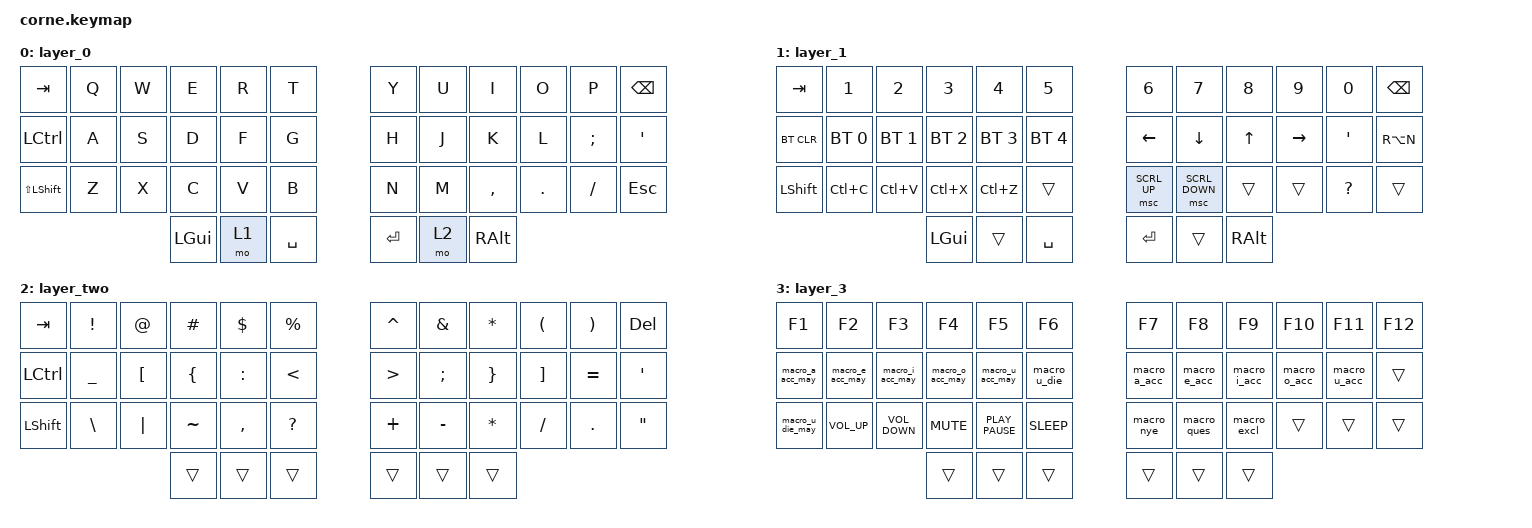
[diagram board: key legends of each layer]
/*
 * Copyright (c) 2020 The ZMK Contributors
 *
 * SPDX-License-Identifier: MIT
 */

#include <behaviors.dtsi>
#include <dt-bindings/zmk/bt.h>
#include <dt-bindings/zmk/keys.h>
#include <dt-bindings/zmk/pointing.h>

/ {
  macros {
        // --- MINÚSCULAS ---
        macro_nye: macro_nye {
            compatible = "zmk,behavior-macro";
            #binding-cells = <0>;
            wait-ms = <40>;
            tap-ms = <40>;
            bindings = <&macro_press &kp LALT>, <&macro_tap &kp KP_N1 &kp KP_N6 &kp KP_N4>, <&macro_release &kp LALT>;
        };
        macro_a_acc: macro_a_acc {
            compatible = "zmk,behavior-macro";
            #binding-cells = <0>;
            wait-ms = <40>;
            tap-ms = <40>;
            bindings = <&macro_press &kp LALT>, <&macro_tap &kp KP_N1 &kp KP_N6 &kp KP_N0>, <&macro_release &kp LALT>;
        };
        macro_e_acc: macro_e_acc {
            compatible = "zmk,behavior-macro";
            #binding-cells = <0>;
            wait-ms = <40>;
            tap-ms = <40>;
            bindings = <&macro_press &kp LALT>, <&macro_tap &kp KP_N1 &kp KP_N3 &kp KP_N0>, <&macro_release &kp LALT>;
        };
        macro_i_acc: macro_i_acc {
            compatible = "zmk,behavior-macro";
            #binding-cells = <0>;
            wait-ms = <40>;
            tap-ms = <40>;
            bindings = <&macro_press &kp LALT>, <&macro_tap &kp KP_N1 &kp KP_N6 &kp KP_N1>, <&macro_release &kp LALT>;
        };
        macro_o_acc: macro_o_acc {
            compatible = "zmk,behavior-macro";
            #binding-cells = <0>;
            wait-ms = <40>;
            tap-ms = <40>;
            bindings = <&macro_press &kp LALT>, <&macro_tap &kp KP_N1 &kp KP_N6 &kp KP_N2>, <&macro_release &kp LALT>;
        };
        macro_u_acc: macro_u_acc {
            compatible = "zmk,behavior-macro";
            #binding-cells = <0>;
            wait-ms = <40>;
            tap-ms = <40>;
            bindings = <&macro_press &kp LALT>, <&macro_tap &kp KP_N1 &kp KP_N6 &kp KP_N3>, <&macro_release &kp LALT>;
        };
        macro_u_die: macro_u_die {
            compatible = "zmk,behavior-macro";
            #binding-cells = <0>;
            wait-ms = <40>;
            tap-ms = <40>;
            bindings = <&macro_press &kp LALT>, <&macro_tap &kp KP_N1 &kp KP_N2 &kp KP_N9>, <&macro_release &kp LALT>;
        };

        // --- MAYÚSCULAS ---
        macro_nye_may: macro_nye_may {
            compatible = "zmk,behavior-macro";
            #binding-cells = <0>;
            wait-ms = <40>;
            tap-ms = <40>;
            bindings = <&macro_press &kp LALT>, <&macro_tap &kp KP_N1 &kp KP_N6 &kp KP_N5>, <&macro_release &kp LALT>;
        };
        macro_a_acc_may: macro_a_acc_may {
            compatible = "zmk,behavior-macro";
            #binding-cells = <0>;
            wait-ms = <40>;
            tap-ms = <40>;
            bindings = <&macro_press &kp LALT>, <&macro_tap &kp KP_N0 &kp KP_N1 &kp KP_N9 &kp KP_N3>, <&macro_release &kp LALT>;
        };
        macro_e_acc_may: macro_e_acc_may {
            compatible = "zmk,behavior-macro";
            #binding-cells = <0>;
            wait-ms = <40>;
            tap-ms = <40>;
            bindings = <&macro_press &kp LALT>, <&macro_tap &kp KP_N0 &kp KP_N2 &kp KP_N0 &kp KP_N1>, <&macro_release &kp LALT>;
        };
        macro_i_acc_may: macro_i_acc_may {
            compatible = "zmk,behavior-macro";
            #binding-cells = <0>;
            wait-ms = <40>;
            tap-ms = <40>;
            bindings = <&macro_press &kp LALT>, <&macro_tap &kp KP_N0 &kp KP_N2 &kp KP_N0 &kp KP_N5>, <&macro_release &kp LALT>;
        };
        macro_o_acc_may: macro_o_acc_may {
            compatible = "zmk,behavior-macro";
            #binding-cells = <0>;
            wait-ms = <40>;
            tap-ms = <40>;
            bindings = <&macro_press &kp LALT>, <&macro_tap &kp KP_N0 &kp KP_N2 &kp KP_N1 &kp KP_N1>, <&macro_release &kp LALT>;
        };
        macro_u_acc_may: macro_u_acc_may {
            compatible = "zmk,behavior-macro";
            #binding-cells = <0>;
            wait-ms = <40>;
            tap-ms = <40>;
            bindings = <&macro_press &kp LALT>, <&macro_tap &kp KP_N0 &kp KP_N2 &kp KP_N1 &kp KP_N8>, <&macro_release &kp LALT>;
        };
        macro_u_die_may: macro_u_die_may {
            compatible = "zmk,behavior-macro";
            #binding-cells = <0>;
            wait-ms = <40>;
            tap-ms = <40>;
            bindings = <&macro_press &kp LALT>, <&macro_tap &kp KP_N1 &kp KP_N5 &kp KP_N4>, <&macro_release &kp LALT>;
        };

        // --- SIGNOS ---
        macro_ques: macro_ques {
            compatible = "zmk,behavior-macro";
            #binding-cells = <0>;
            wait-ms = <40>;
            tap-ms = <40>;
            bindings = <&macro_press &kp LALT>, <&macro_tap &kp KP_N1 &kp KP_N6 &kp KP_N8>, <&macro_release &kp LALT>;
        };
        macro_excl: macro_excl {
            compatible = "zmk,behavior-macro";
            #binding-cells = <0>;
            wait-ms = <40>;
            tap-ms = <40>;
            bindings = <&macro_press &kp LALT>, <&macro_tap &kp KP_N1 &kp KP_N7 &kp KP_N3>, <&macro_release &kp LALT>;
        };
    };
    keymap {
        compatible = "zmk,keymap";

        layer_0 {
            // -----------------------------------------------------------------------------------------
            // |  TAB |  Q  |  W  |  E  |  R  |  T  |   |  Y  |  U   |  I  |  O  |  P  | BSPC |
            // | CTRL |  A  |  S  |  D  |  F  |  G  |   |  H  |  J   |  K  |  L  |  ;  |  '   |
            // | SHFT |  Z  |  X  |  C  |  V  |  B  |   |  N  |  M   |  ,  |  .  |  /  | ESC  |
            //                    | GUI | LWR | SPC |   | ENT | RSE  | ALT |

            bindings = <
&kp TAB        &kp Q  &kp W  &kp E     &kp R  &kp T        &kp Y    &kp U  &kp I      &kp O    &kp P     &kp BSPC
&kp LCTRL      &kp A  &kp S  &kp D     &kp F  &kp G        &kp H    &kp J  &kp K      &kp L    &kp SEMI  &kp SQT
&kp LS(LSHFT)  &kp Z  &kp X  &kp C     &kp V  &kp B        &kp N    &kp M  &kp COMMA  &kp DOT  &kp FSLH  &kp ESC
                             &kp LGUI  &mo 1  &kp SPACE    &kp RET  &mo 2  &kp RALT
            >;
        };

        layer_1 {
            // -----------------------------------------------------------------------------------------
            // |  TAB |  1  |  2  |  3  |  4  |  5  |   |  6  |  7  |  8  |  9  |  0  | BSPC |
            // | BTCLR| BT1 | BT2 | BT3 | BT4 | BT5 |   | LFT | DWN |  UP | RGT |     |      |
            // | SHFT |     |     |     |     |     |   |     |     |     |     |     |      |
            //                    | GUI |     | SPC |   | ENT |     | ALT |

            bindings = <
&kp TAB     &kp N1        &kp N2        &kp N3        &kp N4        &kp N5          &kp N6        &kp N7          &kp N8    &kp N9     &kp N0        &kp BSPC
&bt BT_CLR  &bt BT_SEL 0  &bt BT_SEL 1  &bt BT_SEL 2  &bt BT_SEL 3  &bt BT_SEL 4    &kp LEFT      &kp DOWN        &kp UP    &kp RIGHT  &kp SQT       &kp RA(N)
&kp LSHFT   &kp LC(C)     &kp LC(V)     &kp LC(X)     &kp LC(Z)     &trans          &msc SCRL_UP  &msc SCRL_DOWN  &trans    &trans     &kp QUESTION  &trans
                                        &kp LGUI      &trans        &kp SPACE       &kp RET       &trans          &kp RALT
            >;
        };

        layer_two {
            bindings = <
&kp TAB         &kp EXCLAMATION  &kp AT_SIGN       &kp POUND       &kp DOLLAR  &kp PERCENT     &kp CARET  &kp AMPS       &kp ASTERISK     &kp LEFT_PARENTHESIS  &kp RIGHT_PARENTHESIS  &kp DELETE
&kp LCTRL       &kp UNDERSCORE   &kp LEFT_BRACKET  &kp LEFT_BRACE  &kp COLON   &kp LT          &kp GT     &kp SEMICOLON  &kp RIGHT_BRACE  &kp RIGHT_BRACKET     &kp EQUAL              &kp SQT
&kp LEFT_SHIFT  &kp BACKSLASH    &kp PIPE          &kp TILDE       &kp COMMA   &kp QUESTION    &kp PLUS   &kp MINUS      &kp ASTERISK     &kp SLASH             &kp PERIOD             &kp DOUBLE_QUOTES
                                                   &trans          &trans      &trans          &trans     &trans         &trans
            >;
        };

        layer_3 {
            bindings = <
&kp F1            &kp F2            &kp F3             &kp F4            &kp F5            &kp F6          &kp F7        &kp F8        &kp F9        &kp F10       &kp F11       &kp F12
&macro_a_acc_may  &macro_e_acc_may  &macro_i_acc_may   &macro_o_acc_may  &macro_u_acc_may  &macro_u_die    &macro_a_acc  &macro_e_acc  &macro_i_acc  &macro_o_acc  &macro_u_acc  &trans
&macro_u_die_may  &kp C_VOLUME_UP   &kp C_VOLUME_DOWN  &kp K_MUTE        &kp K_PLAY_PAUSE  &kp C_SLEEP     &macro_nye    &macro_ques   &macro_excl   &trans        &trans        &trans
                                                       &trans            &trans            &trans          &trans        &trans        &trans
            >;
        };
    };

    conditional_layers {
        compatible = "zmk,conditional-layers";

        Cap3 {
            if-layers = <1 2>;
            then-layer = <3>;
        };
    };
};
